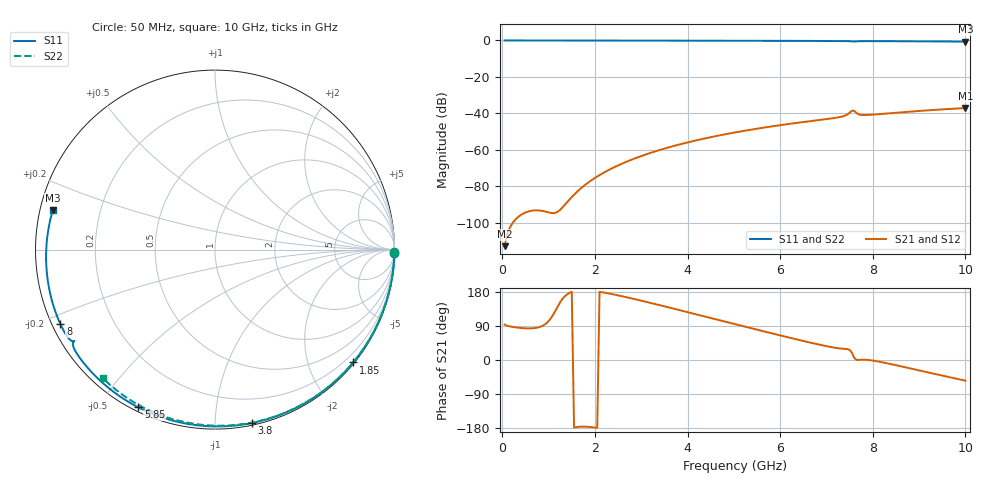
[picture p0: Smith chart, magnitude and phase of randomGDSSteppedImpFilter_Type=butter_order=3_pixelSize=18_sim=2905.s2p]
! freq	dB(S11)	phase(S11)	dB(S12)	phase(S12)
!  dB(S21)	phase(S21)	dB(S22)	phase(S22)
!S-par simulation data
#  GHz  S  DB  R 50
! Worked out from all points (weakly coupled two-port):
!   200 points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, 50 MHz to 10 GHz, reference 50 ohm
!   highest |S21| = -37.10 dB at 10 GHz (marker M1); lowest = -112.9 dB at 50 MHz (marker M2)
!   lowest |S11| = -0.6 dB at 10 GHz (marker M3), VSWR 27.56, Z = 1.84 + j6 ohm
!   |S11| at or under -10 dB: nowhere
!   |S22| runs from -0.4 to 0.0 dB; largest |S21 - S12| = 0
!   S11 on the Smith chart (normalised r, x): 50 MHz: open; 1.85 GHz: 0.03, -2.81; 3.8 GHz: 0.02, -1.23; 5.85 GHz: 0.02, -0.63; 8 GHz: 0.02, -0.23; 10 GHz: 0.04, +0.12
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0.05  -0.00 -1.1  -112.88 93.6  -112.88 93.6  -0.00 -0.8
0.85  -0.02 -18.3  -93.47 89.1  -93.47 89.1  -0.02 -12.8
1.75  -0.05 -37.2  -80.02 -175.8  -80.02 -175.8  -0.03 -26.1
1.85  -0.05 -39.2  -78.06 -176.3  -78.06 -176.3  -0.04 -27.6
2.15  -0.06 -45.4  -73.12 178.9  -73.12 178.9  -0.04 -32.0
2.5  -0.07 -52.5  -68.57 170.6  -68.57 170.6  -0.05 -37.0
2.9  -0.08 -60.5  -64.36 159.5  -64.36 159.5  -0.06 -42.7
3.4  -0.09 -70.3  -60.10 144.7  -60.10 144.7  -0.07 -49.8
3.8  -0.11 -78.1  -57.24 132.5  -57.24 132.5  -0.08 -55.3
4.4  -0.13 -89.4  -53.62 113.9  -53.62 113.9  -0.09 -63.4
5.05  -0.16 -101.4  -50.36 93.8  -50.36 93.8  -0.11 -72.0
5.85  -0.20 -115.9  -47.04 69.4  -47.04 69.4  -0.14 -82.3
6.7  -0.26 -131.2  -44.11 44.5  -44.11 44.5  -0.18 -92.8
7.35  -0.33 -143.2  -41.67 29.7  -41.67 29.7  -0.22 -100.7
7.45  -0.37 -145.3  -40.65 28.8  -40.65 28.8  -0.22 -101.9
7.55  -0.56 -147.0  -38.51 18.9  -38.51 18.9  -0.23 -103.0
7.6  -0.58 -146.9  -38.69 5.6  -38.69 5.6  -0.23 -103.6
7.75  -0.40 -149.4  -40.86 0.7  -40.86 0.7  -0.24 -105.4
8  -0.39 -154.3  -40.71 -1.5  -40.71 -1.5  -0.26 -108.3
8.35  -0.42 -160.9  -39.98 -9.7  -39.98 -9.7  -0.29 -112.4
9.2  -0.52 -177.3  -38.32 -32.9  -38.32 -32.9  -0.36 -122.1
10  -0.63 166.3  -37.10 -54.5  -37.10 -54.5  -0.44 -131.2
